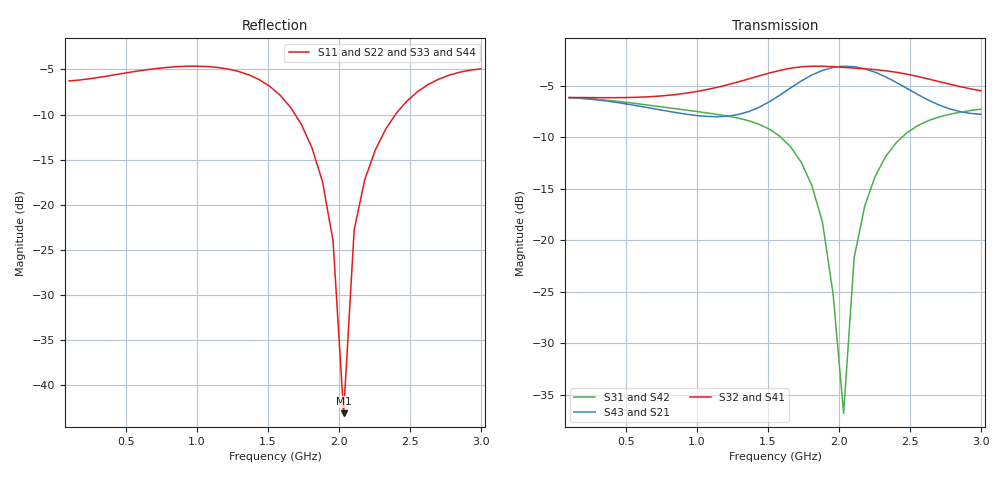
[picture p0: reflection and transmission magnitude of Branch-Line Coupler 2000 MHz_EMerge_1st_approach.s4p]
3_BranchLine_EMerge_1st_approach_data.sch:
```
<Qucs Schematic 25.2.0>
<Properties>
  <View=193,69,828,416,2.4711,0,0>
  <Grid=10,10,1>
  <DataSet=3_BranchLine_EMerge_1st_approach_data.dat>
  <DataDisplay=3_BranchLine_EMerge_1st_approach_data.dpl>
  <OpenDisplay=0>
  <Script=3_BranchLine_EMerge_data.m>
  <RunScript=0>
  <showFrame=0>
  <FrameText0=Title>
  <FrameText1=Drawn By:>
  <FrameText2=Date:>
  <FrameText3=Revision:>
</Properties>
<Symbol>
  <.ID 30 54 SUB>
  <.PortSym -20 -30 1 0 P1>
  <.PortSym 150 -30 2 180 P2>
  <.PortSym -20 30 3 0 P3>
  <.PortSym 150 30 4 180 P4>
  <Rectangle 10 -40 20 80 #000000 1 1 #ffaa00 1 1>
  <Rectangle 30 -40 70 20 #000000 1 1 #ffaa00 1 1>
  <Rectangle 100 -40 20 80 #000000 1 1 #ffaa00 1 1>
  <Rectangle 30 20 70 20 #000000 1 1 #ffaa00 1 1>
  <Rectangle 120 -40 20 20 #000000 1 1 #ffaa00 1 1>
  <Rectangle 120 20 20 20 #000000 1 1 #ffaa00 1 1>
  <Rectangle -10 20 20 20 #000000 1 1 #ffaa00 1 1>
  <Rectangle -10 -40 20 20 #000000 1 1 #ffaa00 1 1>
  <Line -10 -30 -10 0 #000000 1 1>
  <Line -10 30 -10 0 #000000 1 1>
  <Line 150 -30 -10 0 #000000 1 1>
  <Line 150 30 -10 0 #000000 1 1>
</Symbol>
<Components>
  <Port P1 1 410 260 -23 12 0 0 "1" 1 "analog" 0>
  <Port P2 1 580 260 4 -56 0 2 "2" 1 "analog" 0>
  <GND * 1 500 350 0 0 0 0>
  <Port P3 1 410 320 -23 12 0 0 "3" 1 "analog" 0>
  <Port P4 1 580 320 4 -56 0 2 "4" 1 "analog" 0>
  <SPfile X1 1 500 290 -159 -180 0 0 "Branch-Line Coupler 2000 MHz_EMerge_1st_approach.s4p" 1 "rectangular" 0 "linear" 0 "open" 0 "4" 0>
</Components>
<Wires>
  <410 260 470 260 "" 0 0 0 "">
  <530 260 580 260 "" 0 0 0 "">
  <410 320 470 320 "" 0 0 0 "">
  <530 320 580 320 "" 0 0 0 "">
</Wires>
<Diagrams>
</Diagrams>
<Paintings>
</Paintings>
```
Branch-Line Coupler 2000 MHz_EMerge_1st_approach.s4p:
! Generated by EMerge - 4-port S-parameters
! File generated: 2026-02-18 05:41
! --- Branch-Line Coupler 2000 MHz ---
! Substrate: RO4003C
! h = 0.508 mm
! W50 = 1.1 mm, W35 = 1.87 mm
! L35 = 22 mm, L50 = 22 mm
! L_feed = 5 mm
! Run time = 1.59 min
# GHZ S RI R 50
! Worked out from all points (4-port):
!   40 points, 100 MHz to 3 GHz, reference 50 ohm
!   strongest paths, dB at 100 MHz, 843.6 MHz, 1.587 GHz, 2.331 GHz, 3 GHz:
!     S32: -6.1, -5.9, -3.5, -3.5, -5.5
!     S41: -6.1, -5.9, -3.5, -3.5, -5.5
!     S43: -6.2, -7.6, -5.9, -4.1, -7.8
!     S21: -6.2, -7.6, -5.9, -4.1, -7.7
!     S31: -6.1, -7.2, -9.9, -11.8, -7.3
!     S42: -6.1, -7.2, -9.9, -11.8, -7.3
!   lowest |S11| = -43.2 dB at 2.033 GHz (marker M1), VSWR 1.01, Z = 49.7 - j0.632 ohm
!   |S11| at or under -10 dB: 1.692 GHz to 2.398 GHz (706.8 MHz wide, 34.6 % of centre)
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0.1  -0.4857 0.015  0.4877 -0.0677  0.4868 -0.0764  0.4858 -0.0887
     0.4877 -0.0677  -0.4857 0.015  0.4858 -0.0887  0.4868 -0.0764
     0.4868 -0.0764  0.4858 -0.0887  -0.4857 0.015  0.4877 -0.0677
     0.4858 -0.0887  0.4868 -0.0764  0.4877 -0.0677  -0.4857 0.015
2.033333  -0.00276 -0.00636  -0.51 -0.4799  0.0118 -0.00824  -0.4729 0.5045
          -0.51 -0.4799  -0.00113 -0.00424  -0.4745 0.5031  0.0115 -0.00859
          0.0118 -0.00825  -0.4745 0.5031  -0.00157 -0.0038  -0.5109 -0.4789
          -0.4729 0.5045  0.0115 -0.00859  -0.511 -0.4789  -0.00381 -0.00519
3  -0.3807 0.4206  -0.3477 0.2169  -0.4287 -0.0643  0.5076 0.1565
   -0.3477 0.2169  -0.3804 0.4199  0.5084 0.1575  -0.4285 -0.0638
   -0.4287 -0.0643  0.5084 0.1575  -0.3805 0.4201  -0.3463 0.2179
   0.5077 0.1565  -0.4285 -0.0638  -0.3463 0.2179  -0.3804 0.4218
